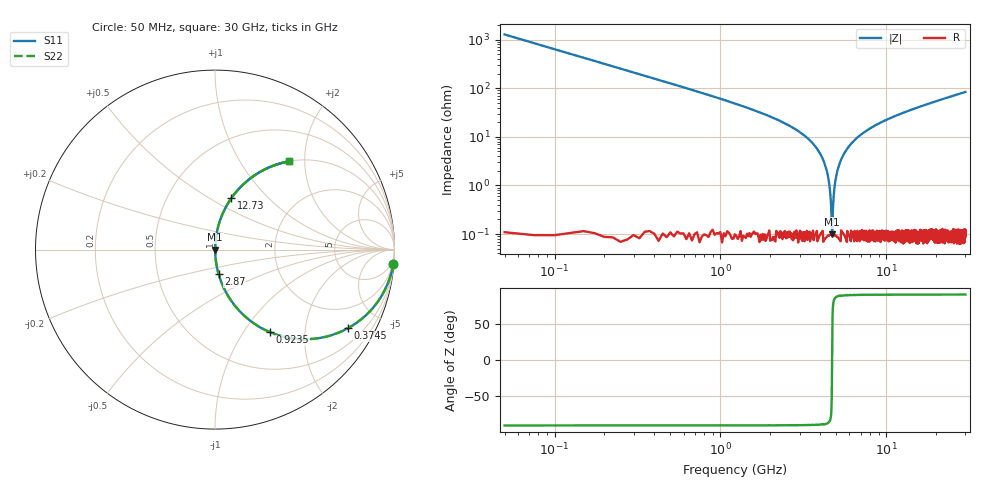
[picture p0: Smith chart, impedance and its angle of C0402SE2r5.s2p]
!	AVX Thin Film Operation 	Date: April 2014
!	Description: Accu-P® Series, Thin Film  SMD RF Capacitor
!	Part Number: 04025J2R5QBSTR
# MHZ S MA R 50
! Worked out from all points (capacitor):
!   1201 points, 50 MHz to 30 GHz, reference 50 ohm
!   read as one part in series: C = 2.5 pF near 199.8 MHz
!   lowest |Z| = 99 mohm at 4.717 GHz (marker M1)
!   series resonance near 4.714 GHz, so ESL is about 460 pH
!   S11 on the Smith chart (normalised r, x): 50 MHz: 1, -25; 374.5 MHz: 1.00, -3.38; 923.5 MHz: 1.00, -1.33; 2.87 GHz: 1.00, -0.28; 12.73 GHz: 1.00, +0.63; 30 GHz: 1.00, +1.68
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50  0.997 -4.5  0.078 85.5  0.078 85.5  0.997 -4.5
249.667  0.931 -21.5  0.366 68.5  0.366 68.5  0.931 -21.5
374.458  0.86 -30.6  0.509 59.4  0.509 59.4  0.86 -30.6
923.542  0.552 -56.4  0.833 33.5  0.833 33.5  0.552 -56.4
1622.375  0.327 -70.8  0.944 19.1  0.944 19.1  0.327 -70.8
2870.292  0.138 -81.7  0.989 7.9  0.989 7.9  0.138 -81.7
3619.042  0.072 -85.1  0.996 4.1  0.996 4.1  0.072 -85.1
4118.208  0.037 -86.4  0.998 2.1  0.998 2.1  0.037 -86.4
4417.708  0.018 -85.9  0.999 1.0  0.999 1.0  0.018 -85.9
4617.375  0.005654 -80.1  0.999 0.3  0.999 0.3  0.005654 -80.1
4717.208  0.0009599 11.8  0.999 -0.0  0.999 -0.0  0.0009599 11.8
4817.042  0.005924 80.5  0.999 -0.3  0.999 -0.3  0.005924 80.5
4941.833  0.013 85.1  0.999 -0.7  0.999 -0.7  0.013 85.1
5041.667  0.018 86.0  0.999 -1.0  0.999 -1.0  0.018 86.0
5540.833  0.044 86.3  0.998 -2.5  0.998 -2.5  0.044 86.3
6439.333  0.085 84.5  0.995 -4.9  0.995 -4.9  0.085 84.5
10058.29  0.219 77.1  0.975 -12.7  0.975 -12.7  0.219 77.1
12728.83  0.3 72.4  0.953 -17.5  0.953 -17.5  0.3 72.4
15025  0.362 68.7  0.931 -21.2  0.931 -21.2  0.362 68.7
20016.67  0.476 61.5  0.879 -28.4  0.879 -28.4  0.476 61.5
25033.29  0.569 55.3  0.822 -34.7  0.822 -34.7  0.569 55.3
30000  0.642 50.0  0.766 -39.9  0.766 -39.9  0.642 50.0
